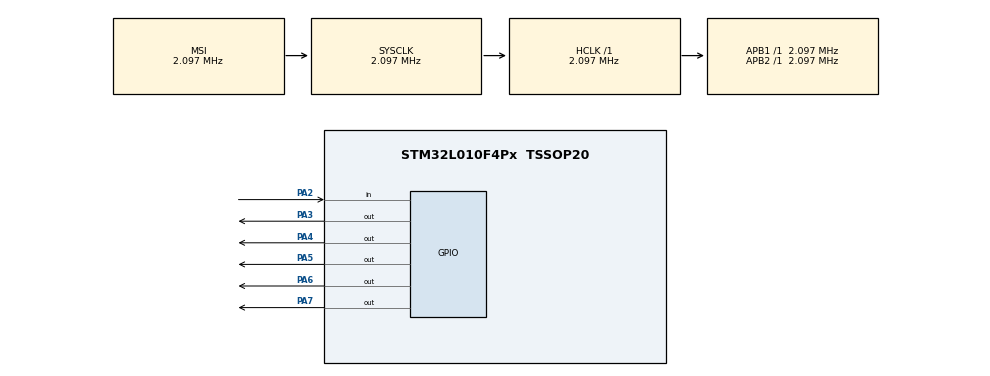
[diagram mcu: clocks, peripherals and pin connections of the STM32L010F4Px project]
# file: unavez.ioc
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Mcu.Family=STM32L0
Mcu.Name=STM32L010F4Px
Mcu.Package=TSSOP20
PA0-CK_IN.Mode=SYS_WakeUp0
PA0-CK_IN.Signal=SYS_WKUP1
PA13.Mode=Serial_Wire
PA13.Signal=SYS_SWDIO
PA14.Mode=Serial_Wire
PA14.Signal=SYS_SWCLK
PA2.Signal=GPIO_Input
PA3.Signal=GPIO_Output
PA4.Signal=GPIO_Output
PA5.Signal=GPIO_Output
PA6.Signal=GPIO_Output
PA7.Signal=GPIO_Output
ProjectManager.HeapSize=0x200
ProjectManager.StackSize=0x400
ProjectManager.TargetToolchain=STM32CubeIDE
RCC.AHBFreq_Value=2097000
RCC.APB1Freq_Value=2097000
RCC.APB1TimFreq_Value=2097000
RCC.APB2Freq_Value=2097000
RCC.APB2TimFreq_Value=2097000
RCC.HSE_VALUE=8000000
RCC.HSI16_VALUE=16000000
RCC.HSI_VALUE=16000000
RCC.LSE_VALUE=32768
RCC.MSI_VALUE=2097000
RCC.SYSCLKFreq_VALUE=2097000
RCC.VCOOutputFreq_Value=48000000
VP_RTC_VS_RTC_Activate.Mode=RTC_Enabled
board=custom

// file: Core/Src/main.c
/* USER CODE BEGIN Header */
/**
  ******************************************************************************
  * @file           : main.c
  * @brief          : Main program body
  ******************************************************************************
  * @attention
  *
  * Copyright (c) 2022 STMicroelectronics.
  * All rights reserved.
  *
  * This software is licensed under terms that can be found in the LICENSE file
  * in the root directory of this software component.
  * If no LICENSE file comes with this software, it is provided AS-IS.
  *
  ******************************************************************************
  */
/* USER CODE END Header */
#include "main.h"

/* USER CODE BEGIN Includes */
#include <time.h>
/* USER CODE END Includes */

RTC_HandleTypeDef hrtc;

/* USER CODE BEGIN PV */
RTC_TimeTypeDef sTime = {0};
RTC_DateTypeDef sDate = {
	.Date = 1,
	.Month = 1,
	.WeekDay = 0,
	.Year = 0,
};
/* USER CODE END PV */

void SystemClock_Config(void);
static void MX_GPIO_Init(void);
static void MX_RTC_Init(void);
/* USER CODE BEGIN PFP */
void enter_standby(void);
void display_time(void);
/* USER CODE END PFP */

/* USER CODE BEGIN 0 */
void enter_standby() {
	__HAL_PWR_CLEAR_FLAG(PWR_FLAG_WU);
	//HAL_PWR_DisableWakeUpPin(PWR_WAKEUP_PIN1);
    HAL_PWR_EnableWakeUpPin(PWR_WAKEUP_PIN1 | PWR_WAKEUP_PIN3);
    HAL_PWR_EnterSTANDBYMode();
}
void display_time() {
	RTC_TimeTypeDef sTime = {0};
	RTC_DateTypeDef sDate = {0};

	HAL_RTC_GetTime(&hrtc, &sTime, RTC_FORMAT_BIN);
	HAL_RTC_GetDate(&hrtc, &sDate, RTC_FORMAT_BIN);
	struct tm time = {
		.tm_sec = sTime.Seconds,
		.tm_min = sTime.Minutes,
		.tm_hour = sTime.Hours,
		.tm_mday = sDate.Date,
		.tm_mon = sDate.Month-1,
		.tm_year = sDate.Year+70,
		.tm_wday = 0, // ??
		.tm_yday = 0, // ??
		.tm_isdst = 0,
		//.tm_gmtoff = 0,
		//.tm_zone = NULL, // ??
	};
	time_t now = mktime(&time);
	time_t hours = now / 3600;
	// Clamp hours, don't want to show 0 when it was a long time ago!
	if (hours > 31) {
		hours = 31;
	}

	// Reset all
	HAL_GPIO_WritePin(GPIOA, GPIO_PIN_3 | GPIO_PIN_4 | GPIO_PIN_5 | GPIO_PIN_6 | GPIO_PIN_7, GPIO_PIN_RESET);
	// Set only the ones we care about
	HAL_GPIO_WritePin(GPIOA, hours << 3, GPIO_PIN_SET);

	//uint8_t i = 0;
//	HAL_GPIO_WritePin(GPIOA, 1<<(3+i), (hours & (1<<i)) != 0); ++i;
//	HAL_GPIO_WritePin(GPIOA, 1<<(3+i), (hours & (1<<i)) != 0); ++i;
//	HAL_GPIO_WritePin(GPIOA, 1<<(3+i), (hours & (1<<i)) != 0); ++i;
//	HAL_GPIO_WritePin(GPIOA, 1<<(3+i), (hours & (1<<i)) != 0); ++i;
//	HAL_GPIO_WritePin(GPIOA, 1<<(3+i), (hours & (1<<i)) != 0);
}
/* USER CODE END 0 */

int main(void)
{
  /* USER CODE BEGIN 1 */
  __HAL_PWR_CLEAR_FLAG(PWR_FLAG_WU);
  /* USER CODE END 1 */

  /* MCU Configuration--------------------------------------------------------*/

  /* Reset of all peripherals, Initializes the Flash interface and the Systick. */
  HAL_Init();

  /* Configure the system clock */
  SystemClock_Config();

  /* Initialize all configured peripherals */
  MX_GPIO_Init();
  MX_RTC_Init();
  /* USER CODE BEGIN 2 */
  // Show we woke up by flashing the lights:
  for(int i = 0; i < 3; ++i) {
	HAL_GPIO_WritePin(GPIOA, GPIO_PIN_3 | GPIO_PIN_4 | GPIO_PIN_5 | GPIO_PIN_6 | GPIO_PIN_7, (i & 1) == 0);
	HAL_Delay(50);
  }
  /* USER CODE END 2 */

  /* Infinite loop */
  /* USER CODE BEGIN WHILE */
  //uint8_t i = 0;
  //uint8_t wrap = 0;
  //uint16_t pins[5] = {GPIO_PIN_7, GPIO_PIN_6, GPIO_PIN_5, GPIO_PIN_4, GPIO_PIN_3};
  uint8_t ticks = 0;
  display_time();
  // Lowers CPU clock!
  HAL_PWREx_EnableLowPowerRunMode();
  while (1)
  {
    /* USER CODE END WHILE */

    /* USER CODE BEGIN 3 */

	// User: "I took my meds"
    if (HAL_GPIO_ReadPin(GPIOA, GPIO_PIN_2) == GPIO_PIN_SET) {
    	ticks = 0;
    	if (HAL_GetTick()) {
    		int i;
    		for(i = 0; i < 2*20; ++i) {
    			if (HAL_GPIO_ReadPin(GPIOA, GPIO_PIN_2) != GPIO_PIN_SET) {
    				break;
    			}
    			HAL_Delay(50);
    		}
    		if (i == 2*20) {
    			HAL_RTC_SetTime(&hrtc, &sTime, RTC_FORMAT_BCD);
				HAL_RTC_SetDate(&hrtc, &sDate, RTC_FORMAT_BCD);
				// Blink
				HAL_GPIO_WritePin(GPIOA, GPIO_PIN_3 | GPIO_PIN_4 | GPIO_PIN_5 | GPIO_PIN_6 | GPIO_PIN_7, GPIO_PIN_RESET);
				HAL_Delay(50);
				HAL_GPIO_WritePin(GPIOA, GPIO_PIN_3 | GPIO_PIN_4 | GPIO_PIN_5 | GPIO_PIN_6 | GPIO_PIN_7, GPIO_PIN_SET);
				HAL_Delay(50);
				HAL_GPIO_WritePin(GPIOA, GPIO_PIN_3 | GPIO_PIN_4 | GPIO_PIN_5 | GPIO_PIN_6 | GPIO_PIN_7, GPIO_PIN_RESET);
				HAL_Delay(50);
				display_time();
    		}
    	}
    }

    HAL_Delay(50);
    if (ticks > 40) {
    	enter_standby();
    }
    ++ticks;
  }
  /* USER CODE END 3 */
}

void SystemClock_Config(void)
{
  RCC_OscInitTypeDef RCC_OscInitStruct = {0};
  RCC_ClkInitTypeDef RCC_ClkInitStruct = {0};
  RCC_PeriphCLKInitTypeDef PeriphClkInit = {0};

  /** Configure the main internal regulator output voltage
  */
  __HAL_PWR_VOLTAGESCALING_CONFIG(PWR_REGULATOR_VOLTAGE_SCALE1);

  /** Initializes the RCC Oscillators according to the specified parameters
  * in the RCC_OscInitTypeDef structure.
  */
  RCC_OscInitStruct.OscillatorType = RCC_OSCILLATORTYPE_LSI|RCC_OSCILLATORTYPE_MSI;
  RCC_OscInitStruct.LSIState = RCC_LSI_ON;
  RCC_OscInitStruct.MSIState = RCC_MSI_ON;
  RCC_OscInitStruct.MSICalibrationValue = 0;
  RCC_OscInitStruct.MSIClockRange = RCC_MSIRANGE_5;
  RCC_OscInitStruct.PLL.PLLState = RCC_PLL_NONE;
  if (HAL_RCC_OscConfig(&RCC_OscInitStruct) != HAL_OK)
  {
    Error_Handler();
  }

  /** Initializes the CPU, AHB and APB buses clocks
  */
  RCC_ClkInitStruct.ClockType = RCC_CLOCKTYPE_HCLK|RCC_CLOCKTYPE_SYSCLK
                              |RCC_CLOCKTYPE_PCLK1|RCC_CLOCKTYPE_PCLK2;
  RCC_ClkInitStruct.SYSCLKSource = RCC_SYSCLKSOURCE_MSI;
  RCC_ClkInitStruct.AHBCLKDivider = RCC_SYSCLK_DIV1;
  RCC_ClkInitStruct.APB1CLKDivider = RCC_HCLK_DIV1;
  RCC_ClkInitStruct.APB2CLKDivider = RCC_HCLK_DIV1;

  if (HAL_RCC_ClockConfig(&RCC_ClkInitStruct, FLASH_LATENCY_0) != HAL_OK)
  {
    Error_Handler();
  }
  PeriphClkInit.PeriphClockSelection = RCC_PERIPHCLK_RTC;
  PeriphClkInit.RTCClockSelection = RCC_RTCCLKSOURCE_LSI;
  if (HAL_RCCEx_PeriphCLKConfig(&PeriphClkInit) != HAL_OK)
  {
    Error_Handler();
  }
}

static void MX_RTC_Init(void)
{

  /** Initialize RTC Only
  */
  hrtc.Instance = RTC;
  hrtc.Init.HourFormat = RTC_HOURFORMAT_24;
  hrtc.Init.AsynchPrediv = 127;
  hrtc.Init.SynchPrediv = 255;
  hrtc.Init.OutPut = RTC_OUTPUT_DISABLE;
  hrtc.Init.OutPutRemap = RTC_OUTPUT_REMAP_NONE;
  hrtc.Init.OutPutPolarity = RTC_OUTPUT_POLARITY_HIGH;
  hrtc.Init.OutPutType = RTC_OUTPUT_TYPE_OPENDRAIN;
  if (HAL_RTC_Init(&hrtc) != HAL_OK)
  {
    Error_Handler();
  }

}

static void MX_GPIO_Init(void)
{
  GPIO_InitTypeDef GPIO_InitStruct = {0};

  /* GPIO Ports Clock Enable */
  __HAL_RCC_GPIOA_CLK_ENABLE();

  /*Configure GPIO pin Output Level */
  HAL_GPIO_WritePin(GPIOA, GPIO_PIN_3|GPIO_PIN_4|GPIO_PIN_5|GPIO_PIN_6
                          |GPIO_PIN_7, GPIO_PIN_RESET);

  /*Configure GPIO pin : PA2 */
  GPIO_InitStruct.Pin = GPIO_PIN_2;
  GPIO_InitStruct.Mode = GPIO_MODE_INPUT;
  GPIO_InitStruct.Pull = GPIO_NOPULL;
  HAL_GPIO_Init(GPIOA, &GPIO_InitStruct);

  /*Configure GPIO pins : PA3 PA4 PA5 PA6
                           PA7 */
  GPIO_InitStruct.Pin = GPIO_PIN_3|GPIO_PIN_4|GPIO_PIN_5|GPIO_PIN_6
                          |GPIO_PIN_7;
  GPIO_InitStruct.Mode = GPIO_MODE_OUTPUT_PP;
  GPIO_InitStruct.Pull = GPIO_NOPULL;
  GPIO_InitStruct.Speed = GPIO_SPEED_FREQ_LOW;
  HAL_GPIO_Init(GPIOA, &GPIO_InitStruct);

}

void Error_Handler(void)
{
  __disable_irq();
  while (1)
  {
  }
}
